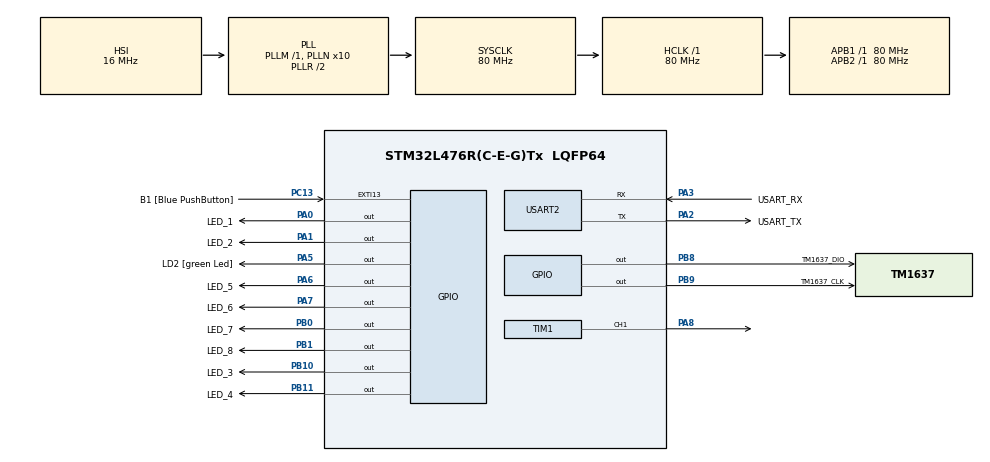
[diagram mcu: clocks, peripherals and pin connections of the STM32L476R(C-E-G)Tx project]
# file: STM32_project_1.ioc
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Dma.Request0=TIM1_CH1
Dma.TIM1_CH1.0.Direction=DMA_MEMORY_TO_PERIPH
Dma.TIM1_CH1.0.Instance=DMA1_Channel2
Dma.TIM1_CH1.0.MemDataAlignment=DMA_MDATAALIGN_HALFWORD
Dma.TIM1_CH1.0.MemInc=DMA_MINC_ENABLE
Dma.TIM1_CH1.0.Mode=DMA_CIRCULAR
Dma.TIM1_CH1.0.PeriphDataAlignment=DMA_PDATAALIGN_HALFWORD
Dma.TIM1_CH1.0.PeriphInc=DMA_PINC_DISABLE
Dma.TIM1_CH1.0.Priority=DMA_PRIORITY_LOW
Mcu.Family=STM32L4
Mcu.Name=STM32L476R(C-E-G)Tx
Mcu.Package=LQFP64
NVIC.DMA1_Channel2_IRQn=true\:0\:0\:false\:false\:true\:false\:true\:true
NVIC.PriorityGroup=NVIC_PRIORITYGROUP_4
NVIC.TIM7_IRQn=true\:0\:0\:false\:false\:true\:true\:true\:true
PA0.GPIO_Label=LED_1
PA0.Signal=GPIO_Output
PA1.GPIO_Label=LED_2
PA1.Signal=GPIO_Output
PA13\ (JTMS-SWDIO).GPIO_Label=TMS
PA13\ (JTMS-SWDIO).Mode=Serial_Wire
PA13\ (JTMS-SWDIO).Signal=SYS_JTMS-SWDIO
PA14\ (JTCK-SWCLK).GPIO_Label=TCK
PA14\ (JTCK-SWCLK).Mode=Serial_Wire
PA14\ (JTCK-SWCLK).Signal=SYS_JTCK-SWCLK
PA2.GPIO_Label=USART_TX
PA2.GPIO_Mode=GPIO_MODE_AF_PP
PA2.GPIO_PuPd=GPIO_NOPULL
PA2.GPIO_Speed=GPIO_SPEED_FREQ_VERY_HIGH
PA2.Mode=Asynchronous
PA2.Signal=USART2_TX
PA3.GPIO_Label=USART_RX
PA3.GPIO_Mode=GPIO_MODE_AF_PP
PA3.GPIO_PuPd=GPIO_NOPULL
PA3.GPIO_Speed=GPIO_SPEED_FREQ_VERY_HIGH
PA3.Mode=Asynchronous
PA3.Signal=USART2_RX
PA5.GPIO_Label=LD2 [green Led]
PA5.GPIO_ModeDefaultOutputPP=GPIO_MODE_OUTPUT_PP
PA5.GPIO_PuPd=GPIO_NOPULL
PA5.GPIO_Speed=GPIO_SPEED_FREQ_LOW
PA5.Signal=GPIO_Output
PA6.GPIO_Label=LED_5
PA6.Signal=GPIO_Output
PA7.GPIO_Label=LED_6
PA7.Signal=GPIO_Output
PA8.Signal=S_TIM1_CH1
PB0.GPIO_Label=LED_7
PB0.Signal=GPIO_Output
PB1.GPIO_Label=LED_8
PB1.Signal=GPIO_Output
PB10.GPIO_Label=LED_3
PB10.Signal=GPIO_Output
PB11.GPIO_Label=LED_4
PB11.Signal=GPIO_Output
PB3\ (JTDO-TRACESWO).GPIO_Label=SWO
PB3\ (JTDO-TRACESWO).Signal=SYS_JTDO-SWO
PB8.GPIO_Label=TM1637_DIO
PB8.PinState=GPIO_PIN_SET
PB8.Signal=GPIO_Output
PB9.GPIO_Label=TM1637_CLK
PB9.PinState=GPIO_PIN_SET
PB9.Signal=GPIO_Output
PC13.GPIO_Label=B1 [Blue PushButton]
PC13.GPIO_ModeDefaultEXTI=GPIO_MODE_IT_FALLING
PC13.GPIO_PuPd=GPIO_NOPULL
PC13.Signal=GPXTI13
PC14-OSC32_IN\ (PC14).Mode=LSE-External-Oscillator
PC14-OSC32_IN\ (PC14).Signal=RCC_OSC32_IN
PC15-OSC32_OUT\ (PC15).Mode=LSE-External-Oscillator
PC15-OSC32_OUT\ (PC15).Signal=RCC_OSC32_OUT
PH0-OSC_IN\ (PH0).Signal=RCC_OSC_IN
PH1-OSC_OUT\ (PH1).Signal=RCC_OSC_OUT
ProjectManager.HeapSize=0x200
ProjectManager.StackSize=0x400
ProjectManager.TargetToolchain=STM32CubeIDE
RCC.ADCFreq_Value=64000000
RCC.AHBFreq_Value=80000000
RCC.APB1Freq_Value=80000000
RCC.APB1TimFreq_Value=80000000
RCC.APB2Freq_Value=80000000
RCC.APB2TimFreq_Value=80000000
RCC.CortexFreq_Value=80000000
RCC.HCLKFreq_Value=80000000
RCC.HSE_VALUE=8000000
RCC.HSI_VALUE=16000000
RCC.MSI_VALUE=4000000
RCC.PLLN=10
RCC.PLLSourceVirtual=RCC_PLLSOURCE_HSI
RCC.PREFETCH_ENABLE=1
RCC.SYSCLKFreq_VALUE=80000000
RCC.SYSCLKSource=RCC_SYSCLKSOURCE_PLLCLK
RCC.USBFreq_Value=64000000
RCC.VCOOutputFreq_Value=160000000
SH.S_TIM1_CH1.0=TIM1_CH1,PWM Generation1 CH1
TIM1.Channel-PWM\ Generation1\ CH1=TIM_CHANNEL_1
TIM1.Period=10000-1
TIM1.Prescaler=8000-1
TIM7.Period=10-1
TIM7.Prescaler=8000-1
USART2.VirtualMode-Asynchronous=VM_ASYNC
VP_TIM7_VS_ClockSourceINT.Mode=Enable_Timer
board=NUCLEO-L476RG

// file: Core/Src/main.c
/* USER CODE BEGIN Header */
/**
  ******************************************************************************
  * @file           : main.c
  * @brief          : Main program body
  ******************************************************************************
  * @attention
  *
  * Copyright (c) 2024 STMicroelectronics.
  * All rights reserved.
  *
  * This software is licensed under terms that can be found in the LICENSE file
  * in the root directory of this software component.
  * If no LICENSE file comes with this software, it is provided AS-IS.
  *
  ******************************************************************************
  */
/* USER CODE END Header */
#include "main.h"
#include "dma.h"
#include "tim.h"
#include "usart.h"
#include "gpio.h"

/* USER CODE BEGIN Includes */
#include "LED.h"
#include "software_timers.h"
#include "TM1637.h"
/* USER CODE END Includes */

void SystemClock_Config(void);

int main(void)
{
  /* USER CODE BEGIN 1 */

	uint16_t LED_state[8] = {50, 1000, 500, 250, 500, 10, 500, 20};
	uint16_t DMA_data[10] = {0};

	DMA_data[0] = 3000;
	DMA_data[1] = 7000;
	DMA_data[2] = 3000;
	DMA_data[3] = 4000;
	DMA_data[4] = 5000;
	DMA_data[5] = 6000;
	DMA_data[6] = 7000;
	DMA_data[7] = 8000;
	DMA_data[8] = 9000;
	DMA_data[9] = 5000;

  /* USER CODE END 1 */

  /* MCU Configuration--------------------------------------------------------*/

  /* Reset of all peripherals, Initializes the Flash interface and the Systick. */
  HAL_Init();

  /* Configure the system clock */
  SystemClock_Config();

  /* Initialize all configured peripherals */
  MX_GPIO_Init();
  MX_DMA_Init();
  MX_USART2_UART_Init();
  MX_TIM7_Init();
  MX_TIM1_Init();
  /* USER CODE BEGIN 2 */

  HAL_TIM_Base_Start_IT(&htim7);

  TM1637_init();

  //	CONFIGURATION TIMER1 TO PWM:
  //TIM1->CCR1 = 3000;							//	Capture Compare Register,
  //HAL_TIM_PWM_Start(&htim1, TIM_CHANNEL_1);		//	Without making interrupt,

  //	CONFIGURATION TIMER1 TO PWM TO WORK WITH DMA:
  HAL_TIM_PWM_Start_DMA(&htim1, TIM_CHANNEL_1, (uint32_t *) DMA_data, 10);

  /* USER CODE END 2 */

  /* Infinite loop */
  /* USER CODE BEGIN WHILE */
  while (1)
  {
	  static uint8_t flag_LED = 0;

	  if(timer_1 == 0 && flag_LED == 0)
	  {
		  timer_1 = 500;
		  //HAL_GPIO_WritePin(LD2_GPIO_Port, LD2_Pin, GPIO_PIN_SET);
		  flag_LED = 1;
	  }

	  if(timer_1 == 0 && flag_LED == 1)
	  {
		  timer_1 = 200;
		  //HAL_GPIO_WritePin(LD2_GPIO_Port, LD2_Pin, GPIO_PIN_RESET);
		  flag_LED = 0;
	  }

	  /*
	  for(uint8_t i=0; i<8; i++)
	  {
		  if(timer_LED[i] == 0)
		  {
			  timer_LED[i] = LED_state[i];
			  LED_tog(LED[i]);
		  }
	  }
*/
    /* USER CODE END WHILE */

  }
}

void SystemClock_Config(void)
{
  RCC_OscInitTypeDef RCC_OscInitStruct = {0};
  RCC_ClkInitTypeDef RCC_ClkInitStruct = {0};

  /** Configure the main internal regulator output voltage
  */
  if (HAL_PWREx_ControlVoltageScaling(PWR_REGULATOR_VOLTAGE_SCALE1) != HAL_OK)
  {
    Error_Handler();
  }

  /** Initializes the RCC Oscillators according to the specified parameters
  * in the RCC_OscInitTypeDef structure.
  */
  RCC_OscInitStruct.OscillatorType = RCC_OSCILLATORTYPE_HSI;
  RCC_OscInitStruct.HSIState = RCC_HSI_ON;
  RCC_OscInitStruct.HSICalibrationValue = RCC_HSICALIBRATION_DEFAULT;
  RCC_OscInitStruct.PLL.PLLState = RCC_PLL_ON;
  RCC_OscInitStruct.PLL.PLLSource = RCC_PLLSOURCE_HSI;
  RCC_OscInitStruct.PLL.PLLM = 1;
  RCC_OscInitStruct.PLL.PLLN = 10;
  RCC_OscInitStruct.PLL.PLLP = RCC_PLLP_DIV7;
  RCC_OscInitStruct.PLL.PLLQ = RCC_PLLQ_DIV2;
  RCC_OscInitStruct.PLL.PLLR = RCC_PLLR_DIV2;
  if (HAL_RCC_OscConfig(&RCC_OscInitStruct) != HAL_OK)
  {
    Error_Handler();
  }

  /** Initializes the CPU, AHB and APB buses clocks
  */
  RCC_ClkInitStruct.ClockType = RCC_CLOCKTYPE_HCLK|RCC_CLOCKTYPE_SYSCLK
                              |RCC_CLOCKTYPE_PCLK1|RCC_CLOCKTYPE_PCLK2;
  RCC_ClkInitStruct.SYSCLKSource = RCC_SYSCLKSOURCE_PLLCLK;
  RCC_ClkInitStruct.AHBCLKDivider = RCC_SYSCLK_DIV1;
  RCC_ClkInitStruct.APB1CLKDivider = RCC_HCLK_DIV1;
  RCC_ClkInitStruct.APB2CLKDivider = RCC_HCLK_DIV1;

  if (HAL_RCC_ClockConfig(&RCC_ClkInitStruct, FLASH_LATENCY_4) != HAL_OK)
  {
    Error_Handler();
  }
}

/* USER CODE BEGIN 4 */

void HAL_TIM_PeriodElapsedCallback(TIM_HandleTypeDef *htim)
{

	software_timers(htim);	//	Software timers,

}

/* USER CODE END 4 */

void Error_Handler(void)
{
  __disable_irq();
  while (1)
  {
  }
}
